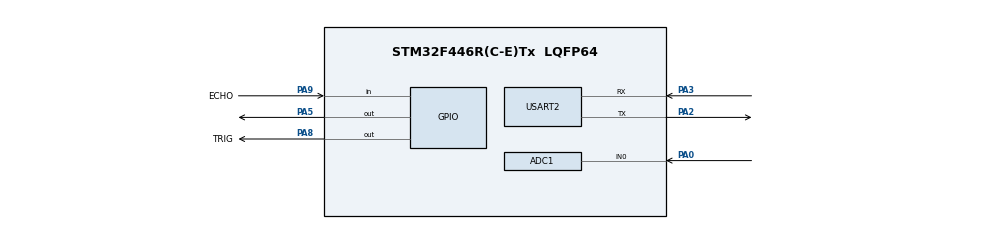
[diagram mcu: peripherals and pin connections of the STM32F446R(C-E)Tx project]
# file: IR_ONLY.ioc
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ADC1.Channel-0\#ChannelRegularConversion=ADC_CHANNEL_0
ADC1.NbrOfConversionFlag=1
ADC1.Rank-0\#ChannelRegularConversion=1
ADC1.SamplingTime-0\#ChannelRegularConversion=ADC_SAMPLETIME_15CYCLES
ADC1.master=1
Mcu.Family=STM32F4
Mcu.Name=STM32F446R(C-E)Tx
Mcu.Package=LQFP64
NVIC.PriorityGroup=NVIC_PRIORITYGROUP_4
PA0-WKUP.Signal=ADCx_IN0
PA2.Mode=Asynchronous
PA2.Signal=USART2_TX
PA3.Mode=Asynchronous
PA3.Signal=USART2_RX
PA5.Signal=GPIO_Output
PA8.GPIO_Label=TRIG
PA8.Signal=GPIO_Output
PA9.GPIO_Label=ECHO
PA9.Signal=GPIO_Input
ProjectManager.HeapSize=0x200
ProjectManager.StackSize=0x400
ProjectManager.TargetToolchain=STM32CubeIDE
RCC.CortexFreq_Value=16000000
RCC.USBFreq_Value=96000000
RCC.VCOOutputFreq_Value=192000000
SH.ADCx_IN0.0=ADC1_IN0,IN0
TIM4.Prescaler=16-1
USART2.VirtualMode=VM_ASYNC
VP_TIM4_VS_ClockSourceINT.Mode=Internal
board=custom

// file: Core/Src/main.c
/* USER CODE BEGIN Header */
/**
  ******************************************************************************
  * @file           : main.c
  * @brief          : Main program body
  ******************************************************************************
  * @attention
  *
  * Copyright (c) 2024 STMicroelectronics.
  * All rights reserved.
  *
  * This software is licensed under terms that can be found in the LICENSE file
  * in the root directory of this software component.
  * If no LICENSE file comes with this software, it is provided AS-IS.
  *
  ******************************************************************************
  */
/* USER CODE END Header */
#include "main.h"

/* USER CODE BEGIN Includes */
#include <stdio.h>
#include <string.h>
/* USER CODE END Includes */
#define usTIM	TIM4

ADC_HandleTypeDef hadc1;

TIM_HandleTypeDef htim4;

UART_HandleTypeDef huart2;

/* USER CODE BEGIN PV */
//uint16_t LDR = 0;
//char msg[20];

/* USER CODE END PV */

void SystemClock_Config(void);
static void MX_GPIO_Init(void);
static void MX_ADC1_Init(void);
static void MX_USART2_UART_Init(void);
static void MX_TIM4_Init(void);
/* USER CODE BEGIN PFP */
void usDelay(uint32_t uSec);
/* USER CODE END PFP */

const float speedOfSound = 0.0343/2;
float distance;

char uartBuf[100];

int main(void)
{
	uint32_t numTicks = 0;

  /* MCU Configuration--------------------------------------------------------*/

  /* Reset of all peripherals, Initializes the Flash interface and the Systick. */
  HAL_Init();

  /* Configure the system clock */
  SystemClock_Config();

  /* Initialize all configured peripherals */
  MX_GPIO_Init();
  MX_ADC1_Init();
  MX_USART2_UART_Init();
  MX_TIM4_Init();
  /* USER CODE BEGIN 2 */
  HAL_TIM_Base_Start(&htim4);  // Start timer
  /* USER CODE END 2 */

  /* Infinite loop */
    while (1)
    {

    /* USER CODE BEGIN 3 */
    	//Set TRIG to LOW for few uSec
    	// Set TRIG to LOW for a few uSec
    	        HAL_GPIO_WritePin(TRIG_GPIO_Port, TRIG_Pin, GPIO_PIN_RESET);
    	        usDelay(3);

    	        // 1. Output 10 usec TRIG pulse
    	        HAL_GPIO_WritePin(TRIG_GPIO_Port, TRIG_Pin, GPIO_PIN_SET);
    	        usDelay(10);  // Ensure TRIG is high for at least 10 uSec
    	        HAL_GPIO_WritePin(TRIG_GPIO_Port, TRIG_Pin, GPIO_PIN_RESET);

    	        // 2. Wait for ECHO pin rising edge
    	        while (HAL_GPIO_ReadPin(ECHO_GPIO_Port, ECHO_Pin) == GPIO_PIN_RESET);

    	        // 3. Start measuring ECHO pulse width in usec
    	        numTicks = 0;
    	        while (HAL_GPIO_ReadPin(ECHO_GPIO_Port, ECHO_Pin) == GPIO_PIN_SET)
    	        {
    	            numTicks++;
    	            usDelay(1);  // 1 microsecond per tick
    	        };

    	        // 4. Estimate distance in cm
    	        distance = (numTicks * 1.0f) * speedOfSound;

    	        // 5. Send the result to UART for debugging
    	        sprintf(uartBuf, "%.2f\r\n", distance);
    	        HAL_UART_Transmit(&huart2, (uint8_t *)uartBuf, strlen(uartBuf), HAL_MAX_DELAY);

    	        // Optional delay
    	        //HAL_Delay(1000);  // 1 second delay between measurements    }
    }
      //HAL_Delay(500);
  /* USER CODE END 3 */
}

void usDelay(uint32_t uSec)
{
    __HAL_TIM_SET_COUNTER(&htim4, 0);  // Reset the timer counter
    while (__HAL_TIM_GET_COUNTER(&htim4) < uSec);  // Wait until the counter reaches the specified delay
}

void SystemClock_Config(void)
{
  RCC_OscInitTypeDef RCC_OscInitStruct = {0};
  RCC_ClkInitTypeDef RCC_ClkInitStruct = {0};

  /** Configure the main internal regulator output voltage
  */
  __HAL_RCC_PWR_CLK_ENABLE();
  __HAL_PWR_VOLTAGESCALING_CONFIG(PWR_REGULATOR_VOLTAGE_SCALE3);

  /** Initializes the RCC Oscillators according to the specified parameters
  * in the RCC_OscInitTypeDef structure.
  */
  RCC_OscInitStruct.OscillatorType = RCC_OSCILLATORTYPE_HSI;
  RCC_OscInitStruct.HSIState = RCC_HSI_ON;
  RCC_OscInitStruct.HSICalibrationValue = RCC_HSICALIBRATION_DEFAULT;
  RCC_OscInitStruct.PLL.PLLState = RCC_PLL_NONE;
  if (HAL_RCC_OscConfig(&RCC_OscInitStruct) != HAL_OK)
  {
    Error_Handler();
  }

  /** Initializes the CPU, AHB and APB buses clocks
  */
  RCC_ClkInitStruct.ClockType = RCC_CLOCKTYPE_HCLK|RCC_CLOCKTYPE_SYSCLK
                              |RCC_CLOCKTYPE_PCLK1|RCC_CLOCKTYPE_PCLK2;
  RCC_ClkInitStruct.SYSCLKSource = RCC_SYSCLKSOURCE_HSI;
  RCC_ClkInitStruct.AHBCLKDivider = RCC_SYSCLK_DIV1;
  RCC_ClkInitStruct.APB1CLKDivider = RCC_HCLK_DIV1;
  RCC_ClkInitStruct.APB2CLKDivider = RCC_HCLK_DIV1;

  if (HAL_RCC_ClockConfig(&RCC_ClkInitStruct, FLASH_LATENCY_0) != HAL_OK)
  {
    Error_Handler();
  }
}

static void MX_ADC1_Init(void)
{

  ADC_ChannelConfTypeDef sConfig = {0};

  /** Configure the global features of the ADC (Clock, Resolution, Data Alignment and number of conversion)
  */
  hadc1.Instance = ADC1;
  hadc1.Init.ClockPrescaler = ADC_CLOCK_SYNC_PCLK_DIV2;
  hadc1.Init.Resolution = ADC_RESOLUTION_12B;
  hadc1.Init.ScanConvMode = DISABLE;
  hadc1.Init.ContinuousConvMode = DISABLE;
  hadc1.Init.DiscontinuousConvMode = DISABLE;
  hadc1.Init.ExternalTrigConvEdge = ADC_EXTERNALTRIGCONVEDGE_NONE;
  hadc1.Init.ExternalTrigConv = ADC_SOFTWARE_START;
  hadc1.Init.DataAlign = ADC_DATAALIGN_RIGHT;
  hadc1.Init.NbrOfConversion = 1;
  hadc1.Init.DMAContinuousRequests = DISABLE;
  hadc1.Init.EOCSelection = ADC_EOC_SINGLE_CONV;
  if (HAL_ADC_Init(&hadc1) != HAL_OK)
  {
    Error_Handler();
  }

  /** Configure for the selected ADC regular channel its corresponding rank in the sequencer and its sample time.
  */
  sConfig.Channel = ADC_CHANNEL_0;
  sConfig.Rank = 1;
  sConfig.SamplingTime = ADC_SAMPLETIME_15CYCLES;
  if (HAL_ADC_ConfigChannel(&hadc1, &sConfig) != HAL_OK)
  {
    Error_Handler();
  }

}

static void MX_TIM4_Init(void)
{

  TIM_ClockConfigTypeDef sClockSourceConfig = {0};
  TIM_MasterConfigTypeDef sMasterConfig = {0};

  htim4.Instance = TIM4;
  htim4.Init.Prescaler = 16-1;
  htim4.Init.CounterMode = TIM_COUNTERMODE_UP;
  htim4.Init.Period = 65535;
  htim4.Init.ClockDivision = TIM_CLOCKDIVISION_DIV1;
  htim4.Init.AutoReloadPreload = TIM_AUTORELOAD_PRELOAD_DISABLE;
  if (HAL_TIM_Base_Init(&htim4) != HAL_OK)
  {
    Error_Handler();
  }
  sClockSourceConfig.ClockSource = TIM_CLOCKSOURCE_INTERNAL;
  if (HAL_TIM_ConfigClockSource(&htim4, &sClockSourceConfig) != HAL_OK)
  {
    Error_Handler();
  }
  sMasterConfig.MasterOutputTrigger = TIM_TRGO_RESET;
  sMasterConfig.MasterSlaveMode = TIM_MASTERSLAVEMODE_DISABLE;
  if (HAL_TIMEx_MasterConfigSynchronization(&htim4, &sMasterConfig) != HAL_OK)
  {
    Error_Handler();
  }

}

static void MX_USART2_UART_Init(void)
{

  huart2.Instance = USART2;
  huart2.Init.BaudRate = 115200;
  huart2.Init.WordLength = UART_WORDLENGTH_8B;
  huart2.Init.StopBits = UART_STOPBITS_1;
  huart2.Init.Parity = UART_PARITY_NONE;
  huart2.Init.Mode = UART_MODE_TX_RX;
  huart2.Init.HwFlowCtl = UART_HWCONTROL_NONE;
  huart2.Init.OverSampling = UART_OVERSAMPLING_16;
  if (HAL_UART_Init(&huart2) != HAL_OK)
  {
    Error_Handler();
  }

}

static void MX_GPIO_Init(void)
{
  GPIO_InitTypeDef GPIO_InitStruct = {0};

  /* GPIO Ports Clock Enable */
  __HAL_RCC_GPIOA_CLK_ENABLE();

  /*Configure GPIO pin Output Level */
  HAL_GPIO_WritePin(GPIOA, GPIO_PIN_5|TRIG_Pin, GPIO_PIN_RESET);

  /*Configure GPIO pins : PA5 TRIG_Pin */
  GPIO_InitStruct.Pin = GPIO_PIN_5|TRIG_Pin;
  GPIO_InitStruct.Mode = GPIO_MODE_OUTPUT_PP;
  GPIO_InitStruct.Pull = GPIO_NOPULL;
  GPIO_InitStruct.Speed = GPIO_SPEED_FREQ_LOW;
  HAL_GPIO_Init(GPIOA, &GPIO_InitStruct);

  /*Configure GPIO pin : ECHO_Pin */
  GPIO_InitStruct.Pin = ECHO_Pin;
  GPIO_InitStruct.Mode = GPIO_MODE_INPUT;
  GPIO_InitStruct.Pull = GPIO_NOPULL;
  HAL_GPIO_Init(ECHO_GPIO_Port, &GPIO_InitStruct);

}

void Error_Handler(void)
{
  __disable_irq();
  while (1)
  {
  }
}
